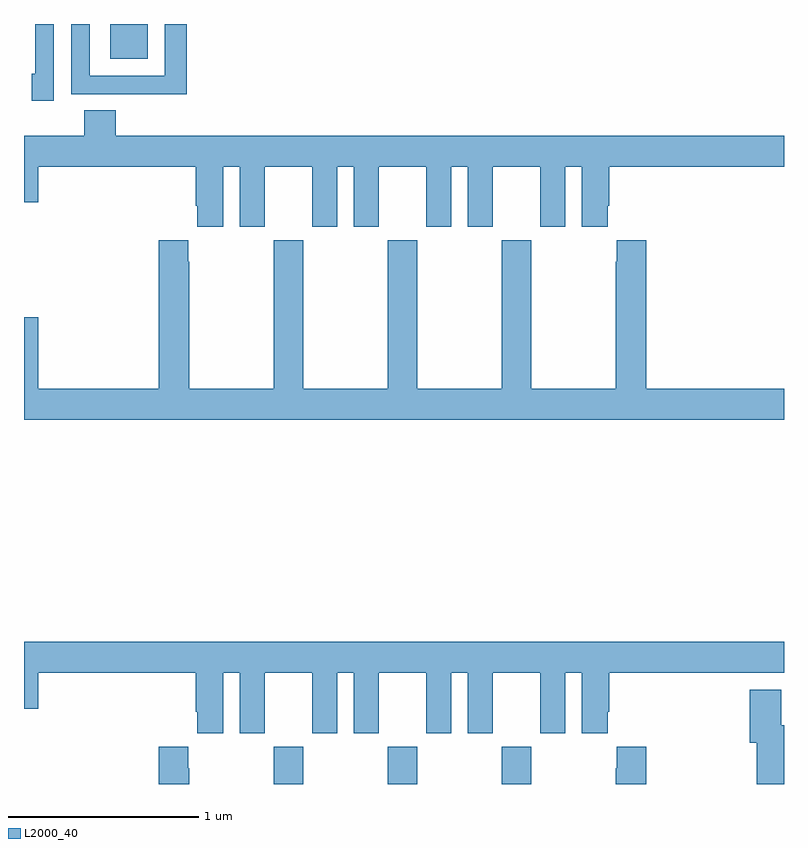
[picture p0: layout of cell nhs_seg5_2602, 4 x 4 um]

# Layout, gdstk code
import gdstk
lib = gdstk.Library(unit=1e-6, precision=1e-09)
def R(c, l, rs):  # rectangles x0, y0, x1, y1
    for r in rs: c.add(gdstk.rectangle(r[:2], r[2:], *l))
def A(c, l, x, y, w, h, nx, ny, dx, dy):  # array of equal rectangles
    R(c, l, [(x+i*dx, y+j*dy, x+i*dx+w, y+j*dy+h) for i in range(nx) for j in range(ny)])
def P(c, l, *ps):  # polygons
    for p in ps: c.add(gdstk.Polygon(p, *l))
L2000_40 = (2000, 40)

nhs_seg5_2602 = lib.new_cell('nhs_seg5_2602')
A(nhs_seg5_2602, L2000_40, 262.315, 898.799, 0.155, 0.197, 3, 1, 0.6, 0)
R(nhs_seg5_2602, L2000_40, [(261.455,902.615,261.652,902.799)])
P(nhs_seg5_2602, L2000_40, [(261.156,902.799),(261.06,902.799),(261.06,902.538),(261.041,902.538),(261.041,902.394),(261.156,902.394)],
  [(261.857,902.799),(261.741,902.799),(261.741,902.526),(261.345,902.526),(261.345,902.799),(261.249,902.799),(261.249,902.43),(261.565,902.43),(261.565,902.429),(261.857,902.429)],
  [(262.048,902.048),(262.136,902.048),(262.136,901.731),(262.267,901.731),(262.267,902.048),(262.517,902.048),(262.517,901.731),(262.648,901.731),(262.648,902.048),(262.736,902.048),(262.736,901.731),(262.867,901.731),(262.867,902.048),(263.117,902.048),(263.117,901.731),(263.248,901.731),(263.248,902.048),(263.336,902.048),(263.336,901.731),(263.467,901.731),(263.467,902.048),(263.717,902.048),(263.717,901.731),(263.848,901.731),(263.848,902.048),(263.936,902.048),(263.936,901.731),(264.073,901.731),(264.073,901.843),(264.08,901.843),(264.08,902.048),(265,902.048),(265,902.212),(261.482,902.212),(261.482,902.345),(261.317,902.345),(261.317,902.212),(261,902.212),(261,901.86),(261.076,901.86),(261.076,902.048),(261.904,902.048),(261.904,901.843),(261.911,901.843),(261.911,901.731),(262.048,901.731)],
  [(265,900.88),(264.275,900.88),(264.275,901.66),(264.119,901.66),(264.119,901.547),(264.115,901.547),(264.115,900.88),(263.67,900.88),(263.67,901.66),(263.515,901.66),(263.515,900.88),(263.07,900.88),(263.07,901.66),(262.915,901.66),(262.915,900.88),(262.47,900.88),(262.47,901.66),(262.315,901.66),(262.315,900.88),(261.87,900.88),(261.87,901.547),(261.865,901.547),(261.865,901.66),(261.71,901.66),(261.71,900.88),(261.076,900.88),(261.076,901.255),(261,901.255),(261,900.716),(265,900.716)],
  [(262.048,899.384),(262.136,899.384),(262.136,899.067),(262.267,899.067),(262.267,899.384),(262.517,899.384),(262.517,899.067),(262.648,899.067),(262.648,899.384),(262.736,899.384),(262.736,899.067),(262.867,899.067),(262.867,899.384),(263.117,899.384),(263.117,899.067),(263.248,899.067),(263.248,899.384),(263.336,899.384),(263.336,899.067),(263.467,899.067),(263.467,899.384),(263.717,899.384),(263.717,899.067),(263.848,899.067),(263.848,899.384),(263.936,899.384),(263.936,899.067),(264.073,899.067),(264.073,899.179),(264.08,899.179),(264.08,899.384),(265,899.384),(265,899.548),(261,899.548),(261,899.196),(261.076,899.196),(261.076,899.384),(261.904,899.384),(261.904,899.179),(261.911,899.179),(261.911,899.067),(262.048,899.067)],
  [(265,899.109),(264.985,899.109),(264.985,899.296),(264.821,899.296),(264.821,899.016),(264.857,899.016),(264.857,898.799),(265,898.799)],
  [(261.87,898.883),(261.865,898.883),(261.865,898.996),(261.71,898.996),(261.71,898.799),(261.87,898.799)],
  [(264.275,898.996),(264.119,898.996),(264.119,898.883),(264.115,898.883),(264.115,898.799),(264.275,898.799)])

lib.write_gds('nhs_seg5_2602.gds')
